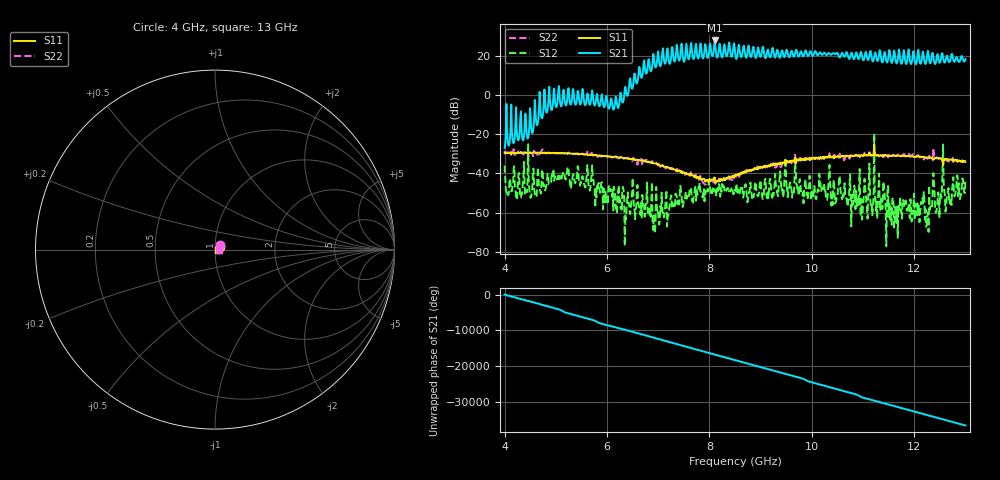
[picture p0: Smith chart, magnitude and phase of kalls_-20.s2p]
! Micran, Research & Production Company
! Date: 2025-04-17 14:09:09
! Frequency	S11	S21	S12	S22
# Hz S dB R 50
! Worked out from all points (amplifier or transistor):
!   764 points, 4 GHz to 13 GHz, reference 50 ohm
!   highest |S21| = 27.7 dB at 8.105 GHz (marker M1)
!   |S21| within 3 dB of that: 8.091677 GHz to 8.117489 GHz (25.81 MHz wide, 0.318 % of centre)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
!   unconditionally stable (mu >= 1): start of sweep to end of sweep
!   at 5.498 GHz: K = 123.24, MAG = -3.2 dB, |S12| = -44.7 dB
!   at 8.506 GHz: K = 12.98, MAG = 20.7 dB, |S12| = -49.0 dB
!   at 13 GHz: K = 9.61, MAG = 18.2 dB, |S12| = -43.9 dB
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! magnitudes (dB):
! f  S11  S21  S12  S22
! 4 GHz  -29.6  -27.1  -36.0  -28.5
! 4.059 GHz  -29.5  -23.6  -50.3  -29.4
! 4.448 GHz  -29.5  -22.3  -43.8  -30.0
! 4.873 GHz  -29.5  4.1  -45.4  -29.7
! 5.51 GHz  -30.1  -0.3  -42.4  -30.2
! 6.218 GHz  -31.9  -6.7  -50.0  -32.0
! 7.008 GHz  -35.4  19.8  -64.4  -35.8
! 8.105 GHz  -42.2  27.7  -48.1  -44.3
! 8.506 GHz  -40.9  20.7  -49.0  -40.6
! 9.697 GHz  -33.5  23.0  -45.6  -33.1
! 10 GHz  -32.5  20.3  -51.3  -32.5
! 10.98 GHz  -30.8  19.4  -63.5  -30.9
! 11.23 GHz  -30.7  21.1  -51.7  -30.4
! 11.5 GHz  -30.9  20.5  -62.2  -30.9
! 11.64 GHz  -31.1  16.7  -57.3  -31.1
! 12.16 GHz  -31.6  21.1  -52.6  -31.3
! 12.25 GHz  -31.9  18.3  -66.4  -32.3
! 12.36 GHz  -32.5  21.3  -46.2  -33.3
! 12.46 GHz  -32.4  20.7  -53.0  -32.2
! 12.55 GHz  -33.5  21.2  -40.0  -33.7
! 12.65 GHz  -32.7  19.8  -50.9  -33.5
! 13 GHz  -34.2  18.2  -43.9  -34.1
